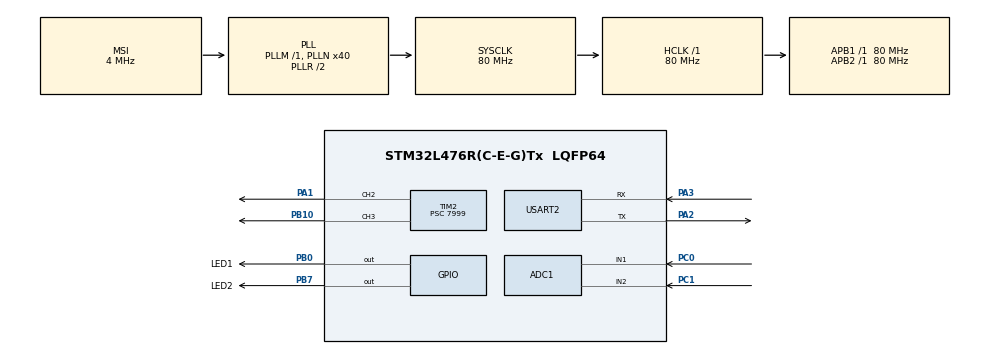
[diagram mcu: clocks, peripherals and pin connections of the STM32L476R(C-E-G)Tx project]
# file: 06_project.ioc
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ADC1.Channel-0\#ChannelRegularConversion=ADC_CHANNEL_1
ADC1.NbrOfConversionFlag=1
ADC1.OffsetNumber-0\#ChannelRegularConversion=ADC_OFFSET_NONE
ADC1.Rank-0\#ChannelRegularConversion=1
ADC1.SamplingTime-0\#ChannelRegularConversion=ADC_SAMPLETIME_2CYCLES_5
ADC1.master=1
Mcu.Family=STM32L4
Mcu.Name=STM32L476R(C-E-G)Tx
Mcu.Package=LQFP64
NVIC.PriorityGroup=NVIC_PRIORITYGROUP_4
NVIC.TIM2_IRQn=true\:0\:0\:false\:false\:true\:true\:true\:true
PA1.Signal=S_TIM2_CH2
PA13\ (JTMS-SWDIO).Mode=Serial_Wire
PA13\ (JTMS-SWDIO).Signal=SYS_JTMS-SWDIO
PA14\ (JTCK-SWCLK).Mode=Serial_Wire
PA14\ (JTCK-SWCLK).Signal=SYS_JTCK-SWCLK
PA2.Mode=Asynchronous
PA2.Signal=USART2_TX
PA3.Mode=Asynchronous
PA3.Signal=USART2_RX
PB0.GPIO_Label=LED1
PB0.Signal=GPIO_Output
PB10.Signal=S_TIM2_CH3
PB7.GPIO_Label=LED2
PB7.Signal=GPIO_Output
PC0.Signal=ADCx_IN1
PC1.Signal=ADCx_IN2
ProjectManager.HeapSize=0x200
ProjectManager.StackSize=0x400
ProjectManager.TargetToolchain=STM32CubeIDE
RCC.ADCFreq_Value=32000000
RCC.AHBFreq_Value=80000000
RCC.APB1Freq_Value=80000000
RCC.APB1TimFreq_Value=80000000
RCC.APB2Freq_Value=80000000
RCC.APB2TimFreq_Value=80000000
RCC.CortexFreq_Value=80000000
RCC.HCLKFreq_Value=80000000
RCC.HSE_VALUE=8000000
RCC.HSI_VALUE=16000000
RCC.LSE_VALUE=32768
RCC.MSI_VALUE=4000000
RCC.PLLN=40
RCC.PLLSAI1N=16
RCC.SYSCLKFreq_VALUE=80000000
RCC.SYSCLKSource=RCC_SYSCLKSOURCE_PLLCLK
RCC.USBFreq_Value=32000000
RCC.VCOOutputFreq_Value=160000000
SH.ADCx_IN1.0=ADC1_IN1,IN1-Single-Ended
SH.ADCx_IN2.0=ADC1_IN2,IN2-Single-Ended
SH.S_TIM2_CH2.0=TIM2_CH2,PWM Generation2 CH2
SH.S_TIM2_CH3.0=TIM2_CH3,PWM Generation3 CH3
TIM2.AutoReloadPreload=TIM_AUTORELOAD_PRELOAD_ENABLE
TIM2.Channel-Output\ Compare1\ No\ Output=TIM_CHANNEL_1
TIM2.Channel-PWM\ Generation2\ CH2=TIM_CHANNEL_2
TIM2.Channel-PWM\ Generation3\ CH3=TIM_CHANNEL_3
TIM2.OCPolarity_1=TIM_OCPOLARITY_LOW
TIM2.Period=9999
TIM2.Prescaler=7999
USART2.VirtualMode-Asynchronous=VM_ASYNC
VP_TIM2_VS_no_output1.Mode=Output Compare1 No Output
board=custom

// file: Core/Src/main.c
/* USER CODE BEGIN Header */
/**
  ******************************************************************************
  * @file           : main.c
  * @brief          : Main program body
  ******************************************************************************
  * @attention
  *
  * Copyright (c) 2026 STMicroelectronics.
  * All rights reserved.
  *
  * This software is licensed under terms that can be found in the LICENSE file
  * in the root directory of this software component.
  * If no LICENSE file comes with this software, it is provided AS-IS.
  *
  ******************************************************************************
  */
/* USER CODE END Header */
#include "main.h"

ADC_HandleTypeDef hadc1;

TIM_HandleTypeDef htim2;

UART_HandleTypeDef huart2;

void SystemClock_Config(void);
static void MX_GPIO_Init(void);
static void MX_ADC1_Init(void);
static void MX_USART2_UART_Init(void);
static void MX_TIM2_Init(void);

/* USER CODE BEGIN 0 */
void HAL_TIM_PeriodElapsedCallback(TIM_HandleTypeDef *htim){
	if(htim->Instance == TIM2){
		HAL_GPIO_TogglePin(LED1_GPIO_Port, LED1_Pin);
		HAL_GPIO_TogglePin(LED2_GPIO_Port, LED2_Pin);
	}
}
int __io_putchar(int ch)
{
  if (ch == '\n') {
    __io_putchar('\r');
  }
  HAL_UART_Transmit(&huart2, (uint8_t*)&ch, 1, HAL_MAX_DELAY);
  return 1;
}
/* USER CODE END 0 */

int main(void)
{

  /* MCU Configuration--------------------------------------------------------*/

  /* Reset of all peripherals, Initializes the Flash interface and the Systick. */
  HAL_Init();

  /* Configure the system clock */
  SystemClock_Config();

  /* Initialize all configured peripherals */
  MX_GPIO_Init();
  MX_ADC1_Init();
  MX_USART2_UART_Init();
  MX_TIM2_Init();
  /* USER CODE BEGIN 2 */
  HAL_TIM_Base_Start_IT(&htim2);
  HAL_ADCEx_Calibration_Start(&hadc1, ADC_SINGLE_ENDED);

  /* USER CODE END 2 */

  /* Infinite loop */
  /* USER CODE BEGIN WHILE */
  uint32_t last_period = 0;
  HAL_TIM_PWM_Start(&htim2, TIM_CHANNEL_2);
  HAL_TIM_PWM_Start(&htim2, TIM_CHANNEL_3);

  while (1)
  {
	  uint32_t adc_value = 0;
	  uint32_t period = 0;
	  uint32_t pulse = 0;

	  HAL_ADC_Start(&hadc1);
	  if(HAL_ADC_PollForConversion(&hadc1, 10) == HAL_OK){
		  adc_value = HAL_ADC_GetValue(&hadc1);
	  }
	  period = 1000UL + (adc_value * 9000UL) / 4095UL;

	  if (abs((int)period - (int)last_period) > 300) {
		  //__HAL_TIM_DISABLE_IT(&htim2, TIM_IT_UPDATE);
		  __HAL_TIM_SET_AUTORELOAD(&htim2, period);
		  //__HAL_TIM_ENABLE_IT(&htim2, TIM_IT_UPDATE);
		  last_period = period;

	      printf("ADC=%lu ARR=%lu\n", adc_value, period);
	  }
	  pulse = (adc_value * period) / 4095UL;
	  __HAL_TIM_SET_COMPARE(&htim2, TIM_CHANNEL_1, pulse);
	  __HAL_TIM_SET_COMPARE(&htim2, TIM_CHANNEL_2, pulse);
	  HAL_Delay(100);
    /* USER CODE END WHILE */

  }
}

void SystemClock_Config(void)
{
  RCC_OscInitTypeDef RCC_OscInitStruct = {0};
  RCC_ClkInitTypeDef RCC_ClkInitStruct = {0};

  /** Configure the main internal regulator output voltage
  */
  if (HAL_PWREx_ControlVoltageScaling(PWR_REGULATOR_VOLTAGE_SCALE1) != HAL_OK)
  {
    Error_Handler();
  }

  /** Initializes the RCC Oscillators according to the specified parameters
  * in the RCC_OscInitTypeDef structure.
  */
  RCC_OscInitStruct.OscillatorType = RCC_OSCILLATORTYPE_MSI;
  RCC_OscInitStruct.MSIState = RCC_MSI_ON;
  RCC_OscInitStruct.MSICalibrationValue = 0;
  RCC_OscInitStruct.MSIClockRange = RCC_MSIRANGE_6;
  RCC_OscInitStruct.PLL.PLLState = RCC_PLL_ON;
  RCC_OscInitStruct.PLL.PLLSource = RCC_PLLSOURCE_MSI;
  RCC_OscInitStruct.PLL.PLLM = 1;
  RCC_OscInitStruct.PLL.PLLN = 40;
  RCC_OscInitStruct.PLL.PLLP = RCC_PLLP_DIV7;
  RCC_OscInitStruct.PLL.PLLQ = RCC_PLLQ_DIV2;
  RCC_OscInitStruct.PLL.PLLR = RCC_PLLR_DIV2;
  if (HAL_RCC_OscConfig(&RCC_OscInitStruct) != HAL_OK)
  {
    Error_Handler();
  }

  /** Initializes the CPU, AHB and APB buses clocks
  */
  RCC_ClkInitStruct.ClockType = RCC_CLOCKTYPE_HCLK|RCC_CLOCKTYPE_SYSCLK
                              |RCC_CLOCKTYPE_PCLK1|RCC_CLOCKTYPE_PCLK2;
  RCC_ClkInitStruct.SYSCLKSource = RCC_SYSCLKSOURCE_PLLCLK;
  RCC_ClkInitStruct.AHBCLKDivider = RCC_SYSCLK_DIV1;
  RCC_ClkInitStruct.APB1CLKDivider = RCC_HCLK_DIV1;
  RCC_ClkInitStruct.APB2CLKDivider = RCC_HCLK_DIV1;

  if (HAL_RCC_ClockConfig(&RCC_ClkInitStruct, FLASH_LATENCY_4) != HAL_OK)
  {
    Error_Handler();
  }
}

static void MX_ADC1_Init(void)
{

  ADC_MultiModeTypeDef multimode = {0};
  ADC_ChannelConfTypeDef sConfig = {0};

  /** Common config
  */
  hadc1.Instance = ADC1;
  hadc1.Init.ClockPrescaler = ADC_CLOCK_ASYNC_DIV1;
  hadc1.Init.Resolution = ADC_RESOLUTION_12B;
  hadc1.Init.DataAlign = ADC_DATAALIGN_RIGHT;
  hadc1.Init.ScanConvMode = ADC_SCAN_DISABLE;
  hadc1.Init.EOCSelection = ADC_EOC_SINGLE_CONV;
  hadc1.Init.LowPowerAutoWait = DISABLE;
  hadc1.Init.ContinuousConvMode = DISABLE;
  hadc1.Init.NbrOfConversion = 1;
  hadc1.Init.DiscontinuousConvMode = DISABLE;
  hadc1.Init.ExternalTrigConv = ADC_SOFTWARE_START;
  hadc1.Init.ExternalTrigConvEdge = ADC_EXTERNALTRIGCONVEDGE_NONE;
  hadc1.Init.DMAContinuousRequests = DISABLE;
  hadc1.Init.Overrun = ADC_OVR_DATA_PRESERVED;
  hadc1.Init.OversamplingMode = DISABLE;
  if (HAL_ADC_Init(&hadc1) != HAL_OK)
  {
    Error_Handler();
  }

  /** Configure the ADC multi-mode
  */
  multimode.Mode = ADC_MODE_INDEPENDENT;
  if (HAL_ADCEx_MultiModeConfigChannel(&hadc1, &multimode) != HAL_OK)
  {
    Error_Handler();
  }

  /** Configure Regular Channel
  */
  sConfig.Channel = ADC_CHANNEL_1;
  sConfig.Rank = ADC_REGULAR_RANK_1;
  sConfig.SamplingTime = ADC_SAMPLETIME_2CYCLES_5;
  sConfig.SingleDiff = ADC_SINGLE_ENDED;
  sConfig.OffsetNumber = ADC_OFFSET_NONE;
  sConfig.Offset = 0;
  if (HAL_ADC_ConfigChannel(&hadc1, &sConfig) != HAL_OK)
  {
    Error_Handler();
  }

}

static void MX_TIM2_Init(void)
{

  TIM_MasterConfigTypeDef sMasterConfig = {0};
  TIM_OC_InitTypeDef sConfigOC = {0};

  htim2.Instance = TIM2;
  htim2.Init.Prescaler = 7999;
  htim2.Init.CounterMode = TIM_COUNTERMODE_UP;
  htim2.Init.Period = 9999;
  htim2.Init.ClockDivision = TIM_CLOCKDIVISION_DIV1;
  htim2.Init.AutoReloadPreload = TIM_AUTORELOAD_PRELOAD_ENABLE;
  if (HAL_TIM_OC_Init(&htim2) != HAL_OK)
  {
    Error_Handler();
  }
  if (HAL_TIM_PWM_Init(&htim2) != HAL_OK)
  {
    Error_Handler();
  }
  sMasterConfig.MasterOutputTrigger = TIM_TRGO_RESET;
  sMasterConfig.MasterSlaveMode = TIM_MASTERSLAVEMODE_DISABLE;
  if (HAL_TIMEx_MasterConfigSynchronization(&htim2, &sMasterConfig) != HAL_OK)
  {
    Error_Handler();
  }
  sConfigOC.OCMode = TIM_OCMODE_TIMING;
  sConfigOC.Pulse = 0;
  sConfigOC.OCPolarity = TIM_OCPOLARITY_LOW;
  sConfigOC.OCFastMode = TIM_OCFAST_DISABLE;
  if (HAL_TIM_OC_ConfigChannel(&htim2, &sConfigOC, TIM_CHANNEL_1) != HAL_OK)
  {
    Error_Handler();
  }
  sConfigOC.OCMode = TIM_OCMODE_PWM1;
  sConfigOC.OCPolarity = TIM_OCPOLARITY_HIGH;
  if (HAL_TIM_PWM_ConfigChannel(&htim2, &sConfigOC, TIM_CHANNEL_2) != HAL_OK)
  {
    Error_Handler();
  }
  if (HAL_TIM_PWM_ConfigChannel(&htim2, &sConfigOC, TIM_CHANNEL_3) != HAL_OK)
  {
    Error_Handler();
  }
  HAL_TIM_MspPostInit(&htim2);

}

static void MX_USART2_UART_Init(void)
{

  huart2.Instance = USART2;
  huart2.Init.BaudRate = 115200;
  huart2.Init.WordLength = UART_WORDLENGTH_8B;
  huart2.Init.StopBits = UART_STOPBITS_1;
  huart2.Init.Parity = UART_PARITY_NONE;
  huart2.Init.Mode = UART_MODE_TX_RX;
  huart2.Init.HwFlowCtl = UART_HWCONTROL_NONE;
  huart2.Init.OverSampling = UART_OVERSAMPLING_16;
  huart2.Init.OneBitSampling = UART_ONE_BIT_SAMPLE_DISABLE;
  huart2.AdvancedInit.AdvFeatureInit = UART_ADVFEATURE_NO_INIT;
  if (HAL_UART_Init(&huart2) != HAL_OK)
  {
    Error_Handler();
  }

}

static void MX_GPIO_Init(void)
{
  GPIO_InitTypeDef GPIO_InitStruct = {0};

  /* GPIO Ports Clock Enable */
  __HAL_RCC_GPIOC_CLK_ENABLE();
  __HAL_RCC_GPIOA_CLK_ENABLE();
  __HAL_RCC_GPIOB_CLK_ENABLE();

  /*Configure GPIO pin Output Level */
  HAL_GPIO_WritePin(GPIOB, LED1_Pin|LED2_Pin, GPIO_PIN_RESET);

  /*Configure GPIO pins : LED1_Pin LED2_Pin */
  GPIO_InitStruct.Pin = LED1_Pin|LED2_Pin;
  GPIO_InitStruct.Mode = GPIO_MODE_OUTPUT_PP;
  GPIO_InitStruct.Pull = GPIO_NOPULL;
  GPIO_InitStruct.Speed = GPIO_SPEED_FREQ_LOW;
  HAL_GPIO_Init(GPIOB, &GPIO_InitStruct);

}

void Error_Handler(void)
{
  __disable_irq();
  while (1)
  {
  }
}
